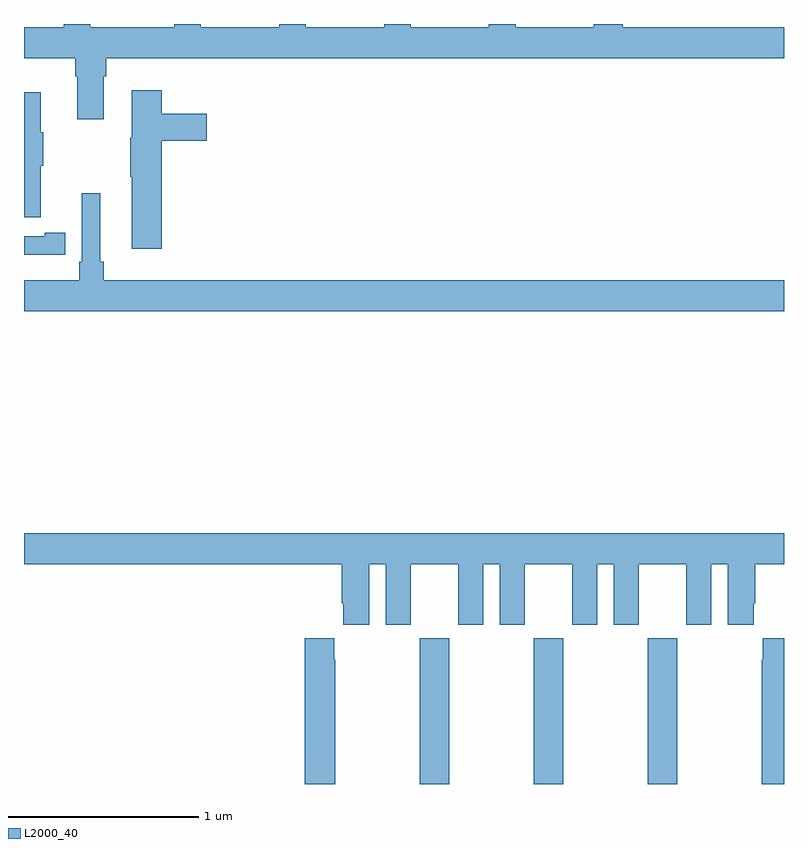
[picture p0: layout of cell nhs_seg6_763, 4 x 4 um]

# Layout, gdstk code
import gdstk
lib = gdstk.Library(unit=1e-6, precision=1e-09)
def R(c, l, rs):  # rectangles x0, y0, x1, y1
    for r in rs: c.add(gdstk.rectangle(r[:2], r[2:], *l))
def A(c, l, x, y, w, h, nx, ny, dx, dy):  # array of equal rectangles
    R(c, l, [(x+i*dx, y+j*dy, x+i*dx+w, y+j*dy+h) for i in range(nx) for j in range(ny)])
def P(c, l, *ps):  # polygons
    for p in ps: c.add(gdstk.Polygon(p, *l))
L2000_40 = (2000, 40)

nhs_seg6_763 = lib.new_cell('nhs_seg6_763')
A(nhs_seg6_763, L2000_40, 161.083, 959.5, 0.155, 0.768, 3, 1, 0.6, 0)
P(nhs_seg6_763, L2000_40, [(163,963.484),(162.152,963.484),(162.152,963.5),(161.999,963.5),(161.999,963.484),(161.587,963.484),(161.587,963.5),(161.447,963.5),(161.447,963.484),(161.035,963.484),(161.035,963.5),(160.895,963.5),(160.895,963.484),(160.483,963.484),(160.483,963.5),(160.343,963.5),(160.343,963.484),(159.931,963.484),(159.931,963.5),(159.791,963.5),(159.791,963.484),(159.349,963.484),(159.349,963.5),(159.209,963.5),(159.209,963.484),(159,963.484),(159,963.32),(159.269,963.32),(159.269,963.224),(159.281,963.224),(159.281,963),(159.421,963),(159.421,963.224),(159.434,963.224),(159.434,963.32),(163,963.32)],
  [(159.725,962.885),(159.961,962.885),(159.961,963.027),(159.725,963.027),(159.725,963.151),(159.566,963.151),(159.566,962.901),(159.559,962.901),(159.559,962.695),(159.566,962.695),(159.566,962.316),(159.725,962.316)],
  [(159.089,962.755),(159.1,962.755),(159.1,962.929),(159.089,962.929),(159.089,963.142),(159,963.142),(159,962.484),(159.089,962.484)],
  [(163,962.152),(159.419,962.152),(159.419,962.248),(159.4,962.248),(159.4,962.608),(159.303,962.608),(159.303,962.248),(159.29,962.248),(159.29,962.152),(159,962.152),(159,961.988),(163,961.988)],
  [(159.11,962.286),(159.218,962.286),(159.218,962.402),(159.11,962.402),(159.11,962.382),(159,962.382),(159,962.285),(159.11,962.285)],
  [(160.816,960.656),(160.904,960.656),(160.904,960.339),(161.035,960.339),(161.035,960.656),(161.285,960.656),(161.285,960.339),(161.416,960.339),(161.416,960.656),(161.504,960.656),(161.504,960.339),(161.635,960.339),(161.635,960.656),(161.885,960.656),(161.885,960.339),(162.016,960.339),(162.016,960.656),(162.104,960.656),(162.104,960.339),(162.235,960.339),(162.235,960.656),(162.485,960.656),(162.485,960.339),(162.616,960.339),(162.616,960.656),(162.704,960.656),(162.704,960.339),(162.841,960.339),(162.841,960.451),(162.848,960.451),(162.848,960.656),(163,960.656),(163,960.82),(159,960.82),(159,960.656),(160.673,960.656),(160.673,960.451),(160.679,960.451),(160.679,960.339),(160.816,960.339)],
  [(163,960.268),(162.887,960.268),(162.887,960.155),(162.883,960.155),(162.883,959.5),(163,959.5)],
  [(160.638,960.155),(160.633,960.155),(160.633,960.268),(160.478,960.268),(160.478,959.5),(160.638,959.5)])

lib.write_gds('nhs_seg6_763.gds')
